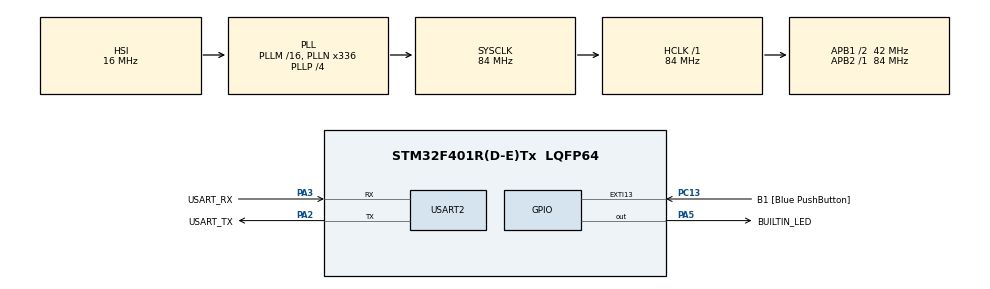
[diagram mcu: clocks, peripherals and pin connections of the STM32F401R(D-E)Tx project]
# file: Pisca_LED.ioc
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Mcu.Family=STM32F4
Mcu.Name=STM32F401R(D-E)Tx
Mcu.Package=LQFP64
NVIC.PriorityGroup=NVIC_PRIORITYGROUP_0
PA13.GPIO_Label=TMS
PA13.Mode=Serial_Wire
PA13.Signal=SYS_JTMS-SWDIO
PA14.GPIO_Label=TCK
PA14.Mode=Serial_Wire
PA14.Signal=SYS_JTCK-SWCLK
PA2.GPIO_Label=USART_TX
PA2.GPIO_Mode=GPIO_MODE_AF_PP
PA2.GPIO_PuPd=GPIO_NOPULL
PA2.GPIO_Speed=GPIO_SPEED_FREQ_LOW
PA2.Mode=Asynchronous
PA2.Signal=USART2_TX
PA3.GPIO_Label=USART_RX
PA3.GPIO_Mode=GPIO_MODE_AF_PP
PA3.GPIO_PuPd=GPIO_NOPULL
PA3.GPIO_Speed=GPIO_SPEED_FREQ_LOW
PA3.Mode=Asynchronous
PA3.Signal=USART2_RX
PA5.GPIO_Label=BUILTIN_LED
PA5.Signal=GPIO_Output
PB3.GPIO_Label=SWO
PB3.Signal=SYS_JTDO-SWO
PC13-ANTI_TAMP.GPIO_Label=B1 [Blue PushButton]
PC13-ANTI_TAMP.GPIO_ModeDefaultEXTI=GPIO_MODE_IT_FALLING
PC13-ANTI_TAMP.GPIO_PuPd=GPIO_NOPULL
PC13-ANTI_TAMP.Signal=GPXTI13
PC14-OSC32_IN.Mode=LSE-External-Oscillator
PC14-OSC32_IN.Signal=RCC_OSC32_IN
PC15-OSC32_OUT.Mode=LSE-External-Oscillator
PC15-OSC32_OUT.Signal=RCC_OSC32_OUT
PH0\ -\ OSC_IN.Mode=HSE-External-Clock-Source
PH0\ -\ OSC_IN.Signal=RCC_OSC_IN
PH1\ -\ OSC_OUT.Mode=HSE-External-Clock-Source
PH1\ -\ OSC_OUT.Signal=RCC_OSC_OUT
ProjectManager.HeapSize=0x200
ProjectManager.StackSize=0x400
ProjectManager.TargetToolchain=TrueSTUDIO
RCC.48MHZClocksFreq_Value=48000000
RCC.AHBFreq_Value=84000000
RCC.APB1CLKDivider=RCC_HCLK_DIV2
RCC.APB1Freq_Value=42000000
RCC.APB1TimFreq_Value=84000000
RCC.APB2Freq_Value=84000000
RCC.APB2TimFreq_Value=84000000
RCC.CortexFreq_Value=84000000
RCC.HCLKFreq_Value=84000000
RCC.HSE_VALUE=8000000
RCC.HSI_VALUE=16000000
RCC.PLLN=336
RCC.PLLP=RCC_PLLP_DIV4
RCC.PLLQ=7
RCC.SYSCLKFreq_VALUE=84000000
RCC.SYSCLKSource=RCC_SYSCLKSOURCE_PLLCLK
RCC.VCOOutputFreq_Value=336000000
USART2.VirtualMode=VM_ASYNC
board=NUCLEO-F401RE

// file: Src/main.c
/* USER CODE BEGIN Header */
/**
  ******************************************************************************
  * @file           : main.c
  * @brief          : Main program body
  ******************************************************************************
  ** This notice applies to any and all portions of this file
  * that are not between comment pairs USER CODE BEGIN and
  * USER CODE END. Other portions of this file, whether
  * inserted by the user or by software development tools
  * are owned by their respective copyright owners.
  *
  * COPYRIGHT(c) 2019 STMicroelectronics
  *
  * Redistribution and use in source and binary forms, with or without modification,
  * are permitted provided that the following conditions are met:
  *   1. Redistributions of source code must retain the above copyright notice,
  *      this list of conditions and the following disclaimer.
  *   2. Redistributions in binary form must reproduce the above copyright notice,
  *      this list of conditions and the following disclaimer in the documentation
  *      and/or other materials provided with the distribution.
  *   3. Neither the name of STMicroelectronics nor the names of its contributors
  *      may be used to endorse or promote products derived from this software
  *      without specific prior written permission.
  *
  * THIS SOFTWARE IS PROVIDED BY THE COPYRIGHT HOLDERS AND CONTRIBUTORS "AS IS"
  * AND ANY EXPRESS OR IMPLIED WARRANTIES, INCLUDING, BUT NOT LIMITED TO, THE
  * IMPLIED WARRANTIES OF MERCHANTABILITY AND FITNESS FOR A PARTICULAR PURPOSE ARE
  * DISCLAIMED. IN NO EVENT SHALL THE COPYRIGHT HOLDER OR CONTRIBUTORS BE LIABLE
  * FOR ANY DIRECT, INDIRECT, INCIDENTAL, SPECIAL, EXEMPLARY, OR CONSEQUENTIAL
  * DAMAGES (INCLUDING, BUT NOT LIMITED TO, PROCUREMENT OF SUBSTITUTE GOODS OR
  * SERVICES; LOSS OF USE, DATA, OR PROFITS; OR BUSINESS INTERRUPTION) HOWEVER
  * CAUSED AND ON ANY THEORY OF LIABILITY, WHETHER IN CONTRACT, STRICT LIABILITY,
  * OR TORT (INCLUDING NEGLIGENCE OR OTHERWISE) ARISING IN ANY WAY OUT OF THE USE
  * OF THIS SOFTWARE, EVEN IF ADVISED OF THE POSSIBILITY OF SUCH DAMAGE.
  *
  ******************************************************************************
  */
/* USER CODE END Header */

#include "main.h"

UART_HandleTypeDef huart2;

void SystemClock_Config(void);
static void MX_GPIO_Init(void);
static void MX_USART2_UART_Init(void);

/* USER CODE BEGIN 0 */
int __io_putchar(int ch) {
	ITM_SendChar(ch);

	return 0;
}
/* USER CODE END 0 */

int main(void)
{
  /* USER CODE BEGIN 1 */
HAL_Delay(50);
//  int i = 0;
  int soma_par = 0;
  int conta_impar = 0;
  int num1 = 1, num2 = 2, num3 = 3, num4 = 4, num5 = 5, num6 = 6;

  	  /*printf("Digite 6 numeros inteiros:\n ");

  	  printf("Informe o primeiro numero: ");
  	  scanf("%d", &num1);
  	  printf(",");

  	  printf("Informe o segundo numero: ");
  	  scanf("%d", &num2);
  	  printf(",");

  	  printf("Informe o terceiro numero: ");
  	  scanf("%d", &num3);
  	  printf(",");

  	  printf("Informe o terceiro numero: ");
  	  scanf("%d", &num4);
  	  printf(",");

  	  printf("Informe o terceiro numero: ");
  	  scanf("%d", &num5);
  	  printf(",");

  	  printf("Informe o terceiro numero: ");
  	  scanf("%d", &num6);
  	  printf(",");*/

  	  //verifica se é par ou impar somando os pares e contando os impares
  	  if (num1 % 2 == 0) {
  		  soma_par += num1;
  	      }
  	  	  else{
  	  		  conta_impar += 1;

  	  }
  	  if (num2 % 2 == 0) {
  		  soma_par += num2;
  	 	      }
  	 	  else{
  	  		  conta_impar += 1;

  	 	  }
  	  if (num3 % 2 == 0) {
  		  soma_par += num3;
  	 	      }
  	 	  else{
  			  conta_impar += 1;

  	 	  }
  	  if (num4 % 2 == 0) {
  		  soma_par += num4;
  	 	      }
  	 	  else{
  	  		  conta_impar += 1;

  	 	  }
  	  if (num5 % 2 == 0) {
  		  soma_par += num5;
  	 	      }
  	 	  else{
  	  		  conta_impar += 1;

  	 	  }
  	  if (num6 % 2 == 0) {
  		  soma_par += num6;
  	 	      }
  	 	  else{
  	  		  conta_impar += 1;

  	 	  }
  	  printf("A soma dos numeros pares é: %d\n", soma_par);
  	  printf("A quantidade de numeros impares é: %d\n", conta_impar);

  /* USER CODE END 1 */

  /* MCU Configuration--------------------------------------------------------*/

  /* Reset of all peripherals, Initializes the Flash interface and the Systick. */
  HAL_Init();

  /* Configure the system clock */
  SystemClock_Config();

  /* Initialize all configured peripherals */
  MX_GPIO_Init();
  MX_USART2_UART_Init();

  /* Infinite loop */
  while (1)
  {
//	    HAL_GPIO_TogglePin(BUILTIN_LED_GPIO_Port, BUILTIN_LED_Pin);
//	    HAL_Delay(1000);
//	    printf("Teste de SWV Console %d \n",i++);
//	    if (i == 10) {
//	    	i = 0;
	    }

  }

void SystemClock_Config(void)
{
  RCC_OscInitTypeDef RCC_OscInitStruct = {0};
  RCC_ClkInitTypeDef RCC_ClkInitStruct = {0};

  /**Configure the main internal regulator output voltage
  */
  __HAL_RCC_PWR_CLK_ENABLE();
  __HAL_PWR_VOLTAGESCALING_CONFIG(PWR_REGULATOR_VOLTAGE_SCALE2);
  /**Initializes the CPU, AHB and APB busses clocks
  */
  RCC_OscInitStruct.OscillatorType = RCC_OSCILLATORTYPE_HSI;
  RCC_OscInitStruct.HSIState = RCC_HSI_ON;
  RCC_OscInitStruct.HSICalibrationValue = RCC_HSICALIBRATION_DEFAULT;
  RCC_OscInitStruct.PLL.PLLState = RCC_PLL_ON;
  RCC_OscInitStruct.PLL.PLLSource = RCC_PLLSOURCE_HSI;
  RCC_OscInitStruct.PLL.PLLM = 16;
  RCC_OscInitStruct.PLL.PLLN = 336;
  RCC_OscInitStruct.PLL.PLLP = RCC_PLLP_DIV4;
  RCC_OscInitStruct.PLL.PLLQ = 7;
  if (HAL_RCC_OscConfig(&RCC_OscInitStruct) != HAL_OK)
  {
    Error_Handler();
  }
  /**Initializes the CPU, AHB and APB busses clocks
  */
  RCC_ClkInitStruct.ClockType = RCC_CLOCKTYPE_HCLK|RCC_CLOCKTYPE_SYSCLK
                              |RCC_CLOCKTYPE_PCLK1|RCC_CLOCKTYPE_PCLK2;
  RCC_ClkInitStruct.SYSCLKSource = RCC_SYSCLKSOURCE_PLLCLK;
  RCC_ClkInitStruct.AHBCLKDivider = RCC_SYSCLK_DIV1;
  RCC_ClkInitStruct.APB1CLKDivider = RCC_HCLK_DIV2;
  RCC_ClkInitStruct.APB2CLKDivider = RCC_HCLK_DIV1;

  if (HAL_RCC_ClockConfig(&RCC_ClkInitStruct, FLASH_LATENCY_2) != HAL_OK)
  {
    Error_Handler();
  }
}

static void MX_USART2_UART_Init(void)
{

  huart2.Instance = USART2;
  huart2.Init.BaudRate = 115200;
  huart2.Init.WordLength = UART_WORDLENGTH_8B;
  huart2.Init.StopBits = UART_STOPBITS_1;
  huart2.Init.Parity = UART_PARITY_NONE;
  huart2.Init.Mode = UART_MODE_TX_RX;
  huart2.Init.HwFlowCtl = UART_HWCONTROL_NONE;
  huart2.Init.OverSampling = UART_OVERSAMPLING_16;
  if (HAL_UART_Init(&huart2) != HAL_OK)
  {
    Error_Handler();
  }

}

static void MX_GPIO_Init(void)
{
  GPIO_InitTypeDef GPIO_InitStruct = {0};

  /* GPIO Ports Clock Enable */
  __HAL_RCC_GPIOC_CLK_ENABLE();
  __HAL_RCC_GPIOH_CLK_ENABLE();
  __HAL_RCC_GPIOA_CLK_ENABLE();
  __HAL_RCC_GPIOB_CLK_ENABLE();

  /*Configure GPIO pin Output Level */
  HAL_GPIO_WritePin(BUILTIN_LED_GPIO_Port, BUILTIN_LED_Pin, GPIO_PIN_RESET);

  /*Configure GPIO pin : B1_Pin */
  GPIO_InitStruct.Pin = B1_Pin;
  GPIO_InitStruct.Mode = GPIO_MODE_IT_FALLING;
  GPIO_InitStruct.Pull = GPIO_NOPULL;
  HAL_GPIO_Init(B1_GPIO_Port, &GPIO_InitStruct);

  /*Configure GPIO pin : BUILTIN_LED_Pin */
  GPIO_InitStruct.Pin = BUILTIN_LED_Pin;
  GPIO_InitStruct.Mode = GPIO_MODE_OUTPUT_PP;
  GPIO_InitStruct.Pull = GPIO_NOPULL;
  GPIO_InitStruct.Speed = GPIO_SPEED_FREQ_LOW;
  HAL_GPIO_Init(BUILTIN_LED_GPIO_Port, &GPIO_InitStruct);

}

void Error_Handler(void)
{
}

/************************ (C) COPYRIGHT STMicroelectronics *****END OF FILE****/
